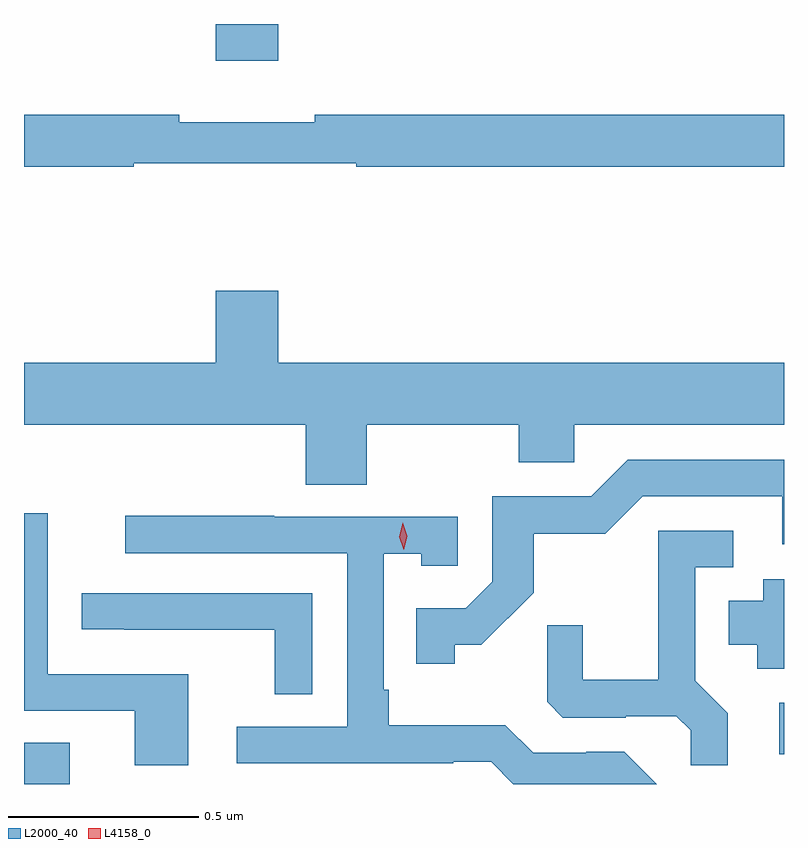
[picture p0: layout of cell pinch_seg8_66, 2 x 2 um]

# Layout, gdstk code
import gdstk
lib = gdstk.Library(unit=1e-6, precision=1e-09)
def R(c, l, rs):  # rectangles x0, y0, x1, y1
    for r in rs: c.add(gdstk.rectangle(r[:2], r[2:], *l))
def P(c, l, *ps):  # polygons
    for p in ps: c.add(gdstk.Polygon(p, *l))
L2000_40 = (2000, 40)
L4158_0 = (4158, 0)

pinch_seg8_66 = lib.new_cell('pinch_seg8_66')
R(pinch_seg8_66, L2000_40, [(895.771,1116.887,895.891,1116.995), (897.759,1116.965,897.771,1117.101), (896.276,1118.79,896.44,1118.887)])
P(pinch_seg8_66, L2000_40, [(896.06,1118.52),(896.645,1118.52),(896.645,1118.512),(897.771,1118.512),(897.771,1118.648),(896.536,1118.648),(896.536,1118.629),(896.18,1118.629),(896.18,1118.648),(895.771,1118.648),(895.771,1118.512),(896.06,1118.512)],
  [(896.44,1118.185),(896.276,1118.185),(896.276,1117.996),(895.771,1117.996),(895.771,1117.832),(896.513,1117.832),(896.513,1117.675),(896.673,1117.675),(896.673,1117.832),(897.073,1117.832),(897.073,1117.734),(897.219,1117.734),(897.219,1117.832),(897.771,1117.832),(897.771,1117.996),(896.44,1117.996)],
  [(896.904,1117.253),(896.974,1117.253),(897.112,1117.39),(897.112,1117.546),(897.301,1117.546),(897.399,1117.644),(897.767,1117.644),(897.767,1117.518),(897.771,1117.518),(897.771,1117.74),(897.36,1117.74),(897.264,1117.644),(897.003,1117.644),(897.003,1117.419),(896.934,1117.35),(896.803,1117.35),(896.803,1117.203),(896.904,1117.203)],
  [(896.203,1117.176),(895.833,1117.176),(895.833,1117.6),(895.771,1117.6),(895.771,1117.08),(896.063,1117.08),(896.063,1116.937),(896.203,1116.937)],
  [(897.351,1116.972),(897.25,1116.972),(897.25,1116.969),(897.111,1116.969),(897.038,1117.042),(896.731,1117.042),(896.731,1117.135),(896.718,1117.135),(896.718,1117.493),(896.817,1117.493),(896.817,1117.461),(896.913,1117.461),(896.913,1117.59),(896.429,1117.59),(896.429,1117.593),(896.037,1117.593),(896.037,1117.494),(896.622,1117.494),(896.622,1117.038),(896.331,1117.038),(896.331,1116.942),(896.9,1116.942),(896.9,1116.945),(897,1116.945),(897.058,1116.887),(897.436,1116.887)],
  [(897.623,1117.073),(897.537,1117.159),(897.537,1117.458),(897.637,1117.458),(897.637,1117.554),(897.44,1117.554),(897.44,1117.162),(897.242,1117.162),(897.242,1117.305),(897.148,1117.305),(897.148,1117.103),(897.189,1117.062),(897.354,1117.062),(897.354,1117.065),(897.488,1117.065),(897.525,1117.028),(897.525,1116.937),(897.623,1116.937)],
  [(897.771,1117.426),(897.716,1117.426),(897.716,1117.369),(897.626,1117.369),(897.626,1117.253),(897.701,1117.253),(897.701,1117.19),(897.771,1117.19)],
  [(896.529,1117.389),(895.923,1117.389),(895.923,1117.294),(896.035,1117.294),(896.035,1117.293),(896.431,1117.293),(896.431,1117.123),(896.529,1117.123)])
P(pinch_seg8_66, L4158_0, [(896.77,1117.503),(896.77,1117.503),(896.759,1117.538),(896.768,1117.575),(896.768,1117.575),(896.768,1117.575),(896.779,1117.539),(896.77,1117.503)])

lib.write_gds('pinch_seg8_66.gds')
